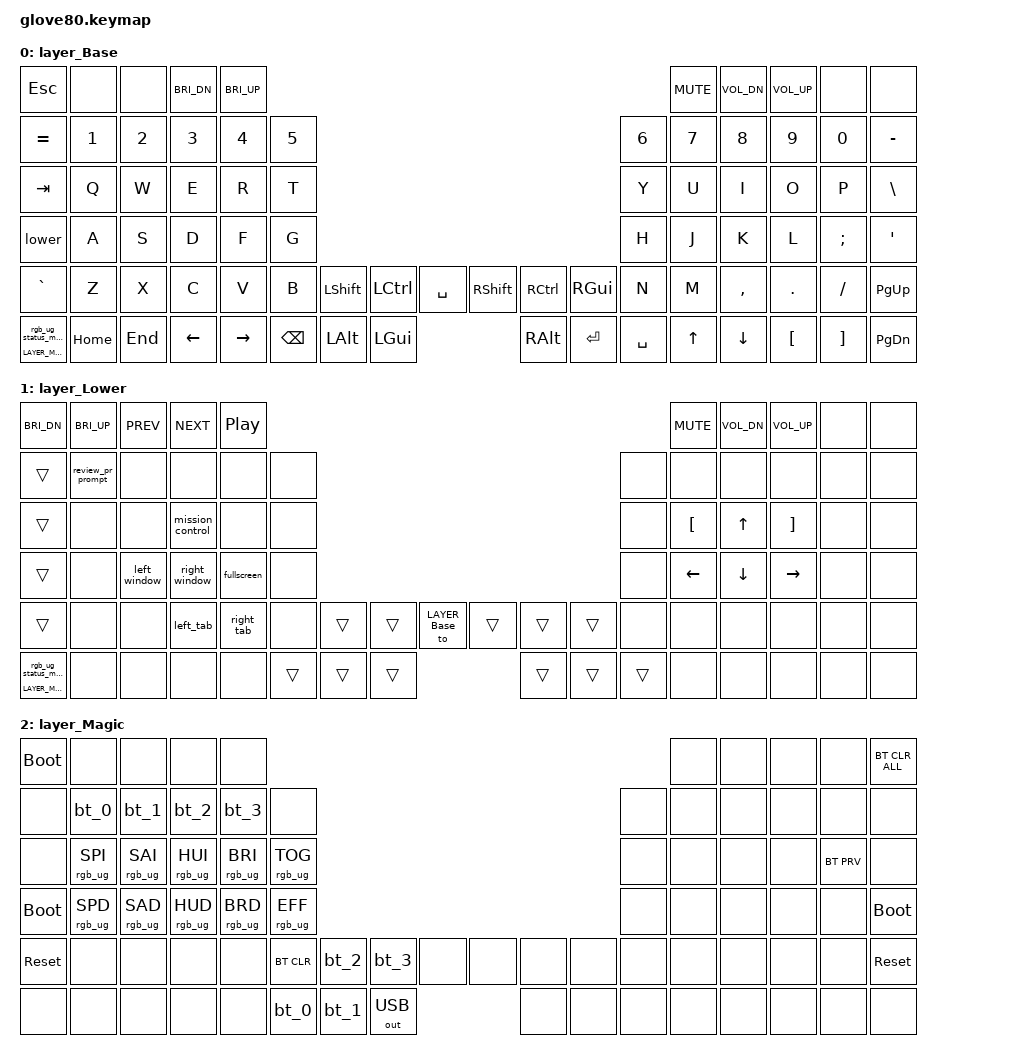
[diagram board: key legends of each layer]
/*
 * Copyright (c) 2020 The ZMK Contributors
 * Copyright (c) 2025 Innaworks Development Limited, trading as MoErgo
 *
 * SPDX-License-Identifier: MIT
 */


/* THIS FILE WAS GENERATED BY GLOVE80 LAYOUT EDITOR
 *
 * This file was generated automatically. You may or may not want to
 * edit it directly.
 */

#include <behaviors.dtsi>
/* Include all behavior includes needed */
#include <dt-bindings/zmk/outputs.h>
#include <dt-bindings/zmk/keys.h>
#include <dt-bindings/zmk/bt.h>
#include <dt-bindings/zmk/rgb.h>

/* On demand includes */


/* Helper Macros, based on https://github.com/urob/zmk-helpers/ */

#pragma once

#define ZMK_HELPER_STRINGIFY(x) #x

// Preprocessor mechanism to overload macros, cf. https://stackoverflow.com/a/27051616/6114651
#define VARGS_(_10, _9, _8, _7, _6, _5, _4, _3, _2, _1, N, ...) N
#define VARGS(...) VARGS_(__VA_ARGS__, 10, 9, 8, 7, 6, 5, 4, 3, 2, 1, 0)
#define CONCAT_(a, b) a##b
#define CONCAT(a, b) CONCAT_(a, b)

#define ZMK_BEHAVIOR_CORE_tap_dance  \
    compatible = "zmk,behavior-tap-dance"; \
    #binding-cells = <0>

#define ZMK_BEHAVIOR(name, type, ...) \
    name: name { \
        ZMK_BEHAVIOR_CORE_ ## type; \
        __VA_ARGS__ \
    };

#define ZMK_TAP_DANCE(name, ...) \
    ZMK_BEHAVIOR(name, tap_dance, __VA_ARGS__)

#define ZMK_TD_LAYER(name, layer) \
    ZMK_TAP_DANCE(name, \
        tapping-term-ms = <200>; \
        bindings = <&mo layer>, <&to layer>; \
)

/* Environment and metadata defines */
#define KB_TYPE_GLOVE_80 1
#define KB_TYPE_GO_60    2

#define KB_TYPE          KB_TYPE_GLOVE_80
#define EDITOR_HOST_OS   'M'

/* Automatically generated layer name defines */
#define LAYER_Base 0
#define LAYER_Lower 1
#define LAYER_Magic 2

/* To deal with the situation where there is no Lower layer, to keep &lower happy */
#ifndef LAYER_Lower
#define LAYER_Lower 0
#endif

/* Custom Device-tree */


/* Input Listeners */


/* System behavior and Macros */
/ {
    behaviors {
        ZMK_TD_LAYER(lower, LAYER_Lower)
    };
};

/ {
    macros {
        rgb_ug_status_macro: rgb_ug_status_macro {
            label = "RGB_UG_STATUS";
            compatible = "zmk,behavior-macro";
            #binding-cells = <0>;
            bindings
                = <&rgb_ug RGB_STATUS>;
        };
    };
};


/ {
#ifdef BT_DISC_CMD
    behaviors {
        bt_0: bt_0 {
            compatible = "zmk,behavior-tap-dance";
            label = "BT_0";
            #binding-cells = <0>;
            tapping-term-ms = <200>;
            bindings = <&bt_select_0>, <&bt BT_DISC 0>;
        };
        bt_1: bt_1 {
            compatible = "zmk,behavior-tap-dance";
            label = "BT_1";
            #binding-cells = <0>;
            tapping-term-ms = <200>;
            bindings = <&bt_select_1>, <&bt BT_DISC 1>;
        };
        bt_2: bt_2 {
            compatible = "zmk,behavior-tap-dance";
            label = "BT_2";
            #binding-cells = <0>;
            tapping-term-ms = <200>;
            bindings = <&bt_select_2>, <&bt BT_DISC 2>;
        };
        bt_3: bt_3 {
            compatible = "zmk,behavior-tap-dance";
            label = "BT_3";
            #binding-cells = <0>;
            tapping-term-ms = <200>;
            bindings = <&bt_select_3>, <&bt BT_DISC 3>;
        };
    };
    macros {
        bt_select_0: bt_select_0 {
            label = "BT_SELECT_0";
            compatible = "zmk,behavior-macro";
            #binding-cells = <0>;
            bindings
                = <&out OUT_BLE>,
                  <&bt BT_SEL 0>;
        };
        bt_select_1: bt_select_1 {
            label = "BT_SELECT_1";
            compatible = "zmk,behavior-macro";
            #binding-cells = <0>;
            bindings
                = <&out OUT_BLE>,
                  <&bt BT_SEL 1>;
        };
        bt_select_2: bt_select_2 {
            label = "BT_SELECT_2";
            compatible = "zmk,behavior-macro";
            #binding-cells = <0>;
            bindings
                = <&out OUT_BLE>,
                  <&bt BT_SEL 2>;
        };
        bt_select_3: bt_select_3 {
            label = "BT_SELECT_3";
            compatible = "zmk,behavior-macro";
            #binding-cells = <0>;
            bindings
                = <&out OUT_BLE>,
                  <&bt BT_SEL 3>;
        };
    };
#else
    macros {
        bt_0: bt_0 {
            label = "BT_0";
            compatible = "zmk,behavior-macro";
            #binding-cells = <0>;
            bindings
                = <&out OUT_BLE>,
                  <&bt BT_SEL 0>;
        };
        bt_1: bt_1 {
            label = "BT_1";
            compatible = "zmk,behavior-macro";
            #binding-cells = <0>;
            bindings
                = <&out OUT_BLE>,
                  <&bt BT_SEL 1>;
        };
        bt_2: bt_2 {
            label = "BT_2";
            compatible = "zmk,behavior-macro";
            #binding-cells = <0>;
            bindings
                = <&out OUT_BLE>,
                  <&bt BT_SEL 2>;
        };
        bt_3: bt_3 {
            label = "BT_3";
            compatible = "zmk,behavior-macro";
            #binding-cells = <0>;
            bindings
                = <&out OUT_BLE>,
                  <&bt BT_SEL 3>;
        };
    };
#endif
};

/ {
    behaviors {
        magic: magic {
            compatible = "zmk,behavior-hold-tap";
            label = "MAGIC_HOLD_TAP";
            #binding-cells = <2>;
            flavor = "tap-preferred";
            tapping-term-ms = <200>;
            bindings = <&mo>, <&rgb_ug_status_macro>;
        };
    };
};


/* Key positions */

#define POS_LH_C6R1 0
#define POS_LH_C5R1 1
#define POS_LH_C4R1 2
#define POS_LH_C3R1 3
#define POS_LH_C2R1 4
#define POS_RH_C2R1 5
#define POS_RH_C3R1 6
#define POS_RH_C4R1 7
#define POS_RH_C5R1 8
#define POS_RH_C6R1 9
#define POS_LH_C6R2 10
#define POS_LH_C5R2 11
#define POS_LH_C4R2 12
#define POS_LH_C3R2 13
#define POS_LH_C2R2 14
#define POS_LH_C1R2 15
#define POS_RH_C1R2 16
#define POS_RH_C2R2 17
#define POS_RH_C3R2 18
#define POS_RH_C4R2 19
#define POS_RH_C5R2 20
#define POS_RH_C6R2 21
#define POS_LH_C6R3 22
#define POS_LH_C5R3 23
#define POS_LH_C4R3 24
#define POS_LH_C3R3 25
#define POS_LH_C2R3 26
#define POS_LH_C1R3 27
#define POS_RH_C1R3 28
#define POS_RH_C2R3 29
#define POS_RH_C3R3 30
#define POS_RH_C4R3 31
#define POS_RH_C5R3 32
#define POS_RH_C6R3 33
#define POS_LH_C6R4 34
#define POS_LH_C5R4 35
#define POS_LH_C4R4 36
#define POS_LH_C3R4 37
#define POS_LH_C2R4 38
#define POS_LH_C1R4 39
#define POS_RH_C1R4 40
#define POS_RH_C2R4 41
#define POS_RH_C3R4 42
#define POS_RH_C4R4 43
#define POS_RH_C5R4 44
#define POS_RH_C6R4 45
#define POS_LH_C6R5 46
#define POS_LH_C5R5 47
#define POS_LH_C4R5 48
#define POS_LH_C3R5 49
#define POS_LH_C2R5 50
#define POS_LH_C1R5 51
#define POS_LH_T1 52
#define POS_LH_T2 53
#define POS_LH_T3 54
#define POS_RH_T3 55
#define POS_RH_T2 56
#define POS_RH_T1 57
#define POS_RH_C1R5 58
#define POS_RH_C2R5 59
#define POS_RH_C3R5 60
#define POS_RH_C4R5 61
#define POS_RH_C5R5 62
#define POS_RH_C6R5 63
#define POS_LH_C6R6 64
#define POS_LH_C5R6 65
#define POS_LH_C4R6 66
#define POS_LH_C3R6 67
#define POS_LH_C2R6 68
#define POS_LH_T4 69
#define POS_LH_T5 70
#define POS_LH_T6 71
#define POS_RH_T6 72
#define POS_RH_T5 73
#define POS_RH_T4 74
#define POS_RH_C2R6 75
#define POS_RH_C3R6 76
#define POS_RH_C4R6 77
#define POS_RH_C5R6 78
#define POS_RH_C6R6 79


/* Custom Defined Behaviors */
/ {

};

/* Generated input processors */


/* Automatically generated macro definitions */
/ {
    macros {

        mission_control: mission_control {
            label = "&MISSION_CONTROL";
            compatible = "zmk,behavior-macro";
            #binding-cells = <0>;
            bindings = <&kp LC(UP)>;
        };

        left_window: left_window {
            label = "&LEFT_WINDOW";
            compatible = "zmk,behavior-macro";
            #binding-cells = <0>;
            bindings = <&kp LC(LEFT)>;
        };

        right_window: right_window {
            label = "&RIGHT_WINDOW";
            compatible = "zmk,behavior-macro";
            #binding-cells = <0>;
            bindings = <&kp LC(RIGHT)>;
        };

        left_tab: left_tab {
            label = "&LEFT_TAB";
            compatible = "zmk,behavior-macro";
            #binding-cells = <0>;
            bindings = <&kp LS(LG(LBKT))>;
        };

        right_tab: right_tab {
            label = "&RIGHT_TAB";
            compatible = "zmk,behavior-macro";
            #binding-cells = <0>;
            bindings = <&kp LS(LG(RBKT))>;
        };

        fullscreen: fullscreen {
            label = "&FULLSCREEN";
            compatible = "zmk,behavior-macro";
            #binding-cells = <0>;
            bindings = <&kp LC(LG(F))>;
        };

        review_pr_prompt: review_pr_prompt {
            label = "&REVIEW_PR_PROMPT";
            compatible = "zmk,behavior-macro";
            #binding-cells = <0>;
            wait-ms = <10>;
            tap-ms = <10>;
            bindings =
                <&kp LS(C) &kp A &kp N &kp SPACE>,
                <&kp Y &kp O &kp U &kp SPACE>,
                <&kp C &kp H &kp E &kp C &kp K &kp O &kp U &kp T &kp SPACE>,
                <&kp T &kp H &kp E &kp SPACE>,
                <&kp B &kp R &kp A &kp N &kp C &kp H &kp SPACE>,
                <&kp A &kp S &kp S &kp O &kp C &kp I &kp A &kp T &kp E &kp D &kp SPACE>,
                <&kp W &kp I &kp T &kp H &kp SPACE>,
                <&kp T &kp H &kp I &kp S &kp SPACE>,
                <&kp LS(P) &kp LS(R) &kp SPACE>,
                <&kp A &kp N &kp D &kp SPACE>,
                <&kp R &kp E &kp V &kp I &kp E &kp W &kp SPACE>,
                <&kp I &kp T &kp QUESTION &kp SPACE>,
                <&kp LS(P) &kp LS(R) &kp SPACE>,
                <&kp L &kp I &kp N &kp K &kp COLON &kp SPACE>,
                <&kp LG(V) &kp RET>;
        };
    };
};

/* Automatically generated behavior definitions */
/ {
    behaviors {


    };
};

/* Automatically generated combos definitions */


/* Automatically generated keymap */
/ {
    keymap {
        compatible = "zmk,keymap";


        layer_Base {
            bindings = <
              &kp ESC     &none    &none  &kp C_BRI_DN  &kp C_BRI_UP                                                                                    &kp K_MUTE  &kp C_VOL_DN  &kp C_VOL_UP     &none      &none
            &kp EQUAL    &kp N1   &kp N2        &kp N3        &kp N4  &kp N5                                                                    &kp N6      &kp N7        &kp N8        &kp N9    &kp N0  &kp MINUS
              &kp TAB     &kp Q    &kp W         &kp E         &kp R   &kp T                                                                     &kp Y       &kp U         &kp I         &kp O     &kp P   &kp BSLH
               &lower     &kp A    &kp S         &kp D         &kp F   &kp G                                                                     &kp H       &kp J         &kp K         &kp L  &kp SEMI    &kp SQT
            &kp GRAVE     &kp Z    &kp X         &kp C         &kp V   &kp B  &kp LSHFT  &kp LCTRL  &kp SPACE  &kp RSHFT  &kp RCTRL   &kp RGUI   &kp N       &kp M     &kp COMMA       &kp DOT  &kp FSLH  &kp PG_UP
 &magic LAYER_Magic 0  &kp HOME  &kp END      &kp LEFT     &kp RIGHT           &kp BSPC   &kp LALT   &kp LGUI   &kp RALT    &kp RET  &kp SPACE              &kp UP      &kp DOWN      &kp LBKT  &kp RBKT  &kp PG_DN
            >;
        };

        layer_Lower {
            bindings = <
         &kp C_BRI_DN  &kp C_BRI_UP    &kp C_PREV        &kp C_NEXT     &kp C_PP                                                                          &kp C_MUTE  &kp C_VOL_DN  &kp C_VOL_UP   &none   &none
               &trans  &review_pr_prompt  &none             &none        &none   &none                                                           &none       &none         &none         &none   &none   &none
               &trans         &none         &none  &mission_control        &none   &none                                                           &none    &kp LBKT        &kp UP      &kp RBKT   &none   &none
               &trans         &none  &left_window     &right_window  &fullscreen   &none                                                           &none    &kp LEFT      &kp DOWN     &kp RIGHT   &none   &none
               &trans         &none         &none         &left_tab   &right_tab   &none  &trans  &trans  &to LAYER_Base  &trans  &trans  &trans   &none       &none         &none         &none   &none   &none
 &magic LAYER_Magic 0         &none         &none             &none        &none          &trans  &trans          &trans  &trans  &trans  &trans               &none         &none         &none   &none   &none
            >;
        };

        layer_Magic {
            bindings = <
 &bootloader            &none            &none            &none            &none                                                                                  &none   &none   &none       &none  &bt BT_CLR_ALL
       &none            &bt_0            &bt_1            &bt_2            &bt_3            &none                                                         &none   &none   &none   &none       &none           &none
       &none  &rgb_ug RGB_SPI  &rgb_ug RGB_SAI  &rgb_ug RGB_HUI  &rgb_ug RGB_BRI  &rgb_ug RGB_TOG                                                         &none   &none   &none   &none  &bt BT_PRV           &none
 &bootloader  &rgb_ug RGB_SPD  &rgb_ug RGB_SAD  &rgb_ug RGB_HUD  &rgb_ug RGB_BRD  &rgb_ug RGB_EFF                                                         &none   &none   &none   &none       &none     &bootloader
  &sys_reset            &none            &none            &none            &none       &bt BT_CLR   &bt_2   &bt_3         &none   &none   &none   &none   &none   &none   &none   &none       &none      &sys_reset
       &none            &none            &none            &none            &none                    &bt_0   &bt_1  &out OUT_USB   &none   &none   &none           &none   &none   &none       &none           &none
            >;
        };

    };
};
